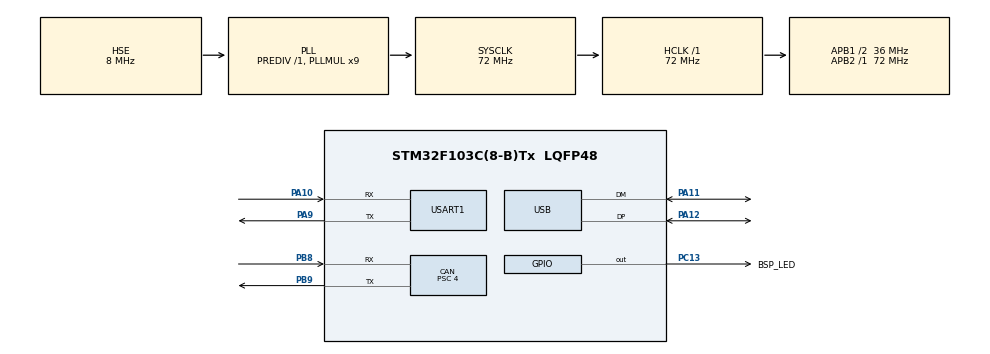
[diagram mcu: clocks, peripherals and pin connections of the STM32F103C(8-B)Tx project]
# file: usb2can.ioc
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CAN.ABOM=ENABLE
CAN.AWUM=ENABLE
CAN.BS1=CAN_BS1_5TQ
CAN.BS2=CAN_BS2_3TQ
CAN.CalculateBaudRate=1000000
CAN.CalculateTimeBit=1000
CAN.CalculateTimeQuantum=111.11111111111111
CAN.NART=ENABLE
CAN.Prescaler=4
CAN.RFLM=ENABLE
CAN.SJW=CAN_SJW_1TQ
CAN.TTCM=DISABLE
CAN.TXFP=ENABLE
FREERTOS.Events01=CanSyncEvent,Dynamic,NULL
FREERTOS.Queues01=CAN_SERVO_SEND_MSG,16,14,1,Dynamic,NULL,NULL;CAN_SERVO_RECV_MSG,16,14,1,Dynamic,NULL,NULL;UART_SEND_MSG,4,128,1,Dynamic,NULL,NULL;UART_RECV_MSG,4,128,1,Dynamic,NULL,NULL
FREERTOS.Tasks01=defaultTask,24,128,StartDefaultTask,Default,NULL,Dynamic,NULL,NULL;CAN_Servo_Task,24,128,CAN_Servo_Main,Default,NULL,Dynamic,NULL,NULL;Uart_Main,24,128,Uart_MainTask,Default,NULL,Dynamic,NULL,NULL
FREERTOS.configCHECK_FOR_STACK_OVERFLOW=1
FREERTOS.configTOTAL_HEAP_SIZE=4096
FREERTOS.configUSE_IDLE_HOOK=1
FREERTOS.configUSE_TIMERS=0
Mcu.Family=STM32F1
Mcu.Name=STM32F103C(8-B)Tx
Mcu.Package=LQFP48
NVIC.PriorityGroup=NVIC_PRIORITYGROUP_4
NVIC.TIM4_IRQn=true\:15\:0\:false\:false\:true\:false\:false\:true\:true
NVIC.TimeBase=TIM4_IRQn
NVIC.TimeBaseIP=TIM4
NVIC.USART1_IRQn=true\:5\:0\:false\:false\:true\:true\:true\:true\:true
NVIC.USB_HP_CAN1_TX_IRQn=true\:5\:0\:false\:false\:true\:true\:true\:true\:true
NVIC.USB_LP_CAN1_RX0_IRQn=true\:5\:0\:false\:false\:true\:true\:false\:true\:true
PA10.Mode=Asynchronous
PA10.Signal=USART1_RX
PA11.Mode=Device
PA11.Signal=USB_DM
PA12.Mode=Device
PA12.Signal=USB_DP
PA13.Mode=Serial_Wire
PA13.Signal=SYS_JTMS-SWDIO
PA14.Mode=Serial_Wire
PA14.Signal=SYS_JTCK-SWCLK
PA9.Mode=Asynchronous
PA9.Signal=USART1_TX
PB8.Mode=CAN_Activate
PB8.Signal=CAN_RX
PB9.Mode=CAN_Activate
PB9.Signal=CAN_TX
PC13-TAMPER-RTC.GPIO_Label=BSP_LED
PC13-TAMPER-RTC.Signal=GPIO_Output
PC14-OSC32_IN.Mode=LSE-External-Oscillator
PC14-OSC32_IN.Signal=RCC_OSC32_IN
PC15-OSC32_OUT.Mode=LSE-External-Oscillator
PC15-OSC32_OUT.Signal=RCC_OSC32_OUT
PD0-OSC_IN.Mode=HSE-External-Oscillator
PD0-OSC_IN.Signal=RCC_OSC_IN
PD1-OSC_OUT.Mode=HSE-External-Oscillator
PD1-OSC_OUT.Signal=RCC_OSC_OUT
ProjectManager.HeapSize=0x400
ProjectManager.StackSize=0x400
ProjectManager.TargetToolchain=MDK-ARM V5.32
RCC.AHBFreq_Value=72000000
RCC.APB1CLKDivider=RCC_HCLK_DIV2
RCC.APB1Freq_Value=36000000
RCC.APB1TimFreq_Value=72000000
RCC.APB2Freq_Value=72000000
RCC.APB2TimFreq_Value=72000000
RCC.HCLKFreq_Value=72000000
RCC.PLLMUL=RCC_PLL_MUL9
RCC.SYSCLKFreq_VALUE=72000000
RCC.SYSCLKSource=RCC_SYSCLKSOURCE_PLLCLK
RCC.USBFreq_Value=48000000
RCC.USBPrescaler=RCC_USBCLKSOURCE_PLL_DIV1_5
USART1.VirtualMode=VM_ASYNC
USB_DEVICE.CLASS_NAME_FS=CDC
USB_DEVICE.USBD_DEBUG_LEVEL=3
USB_DEVICE.VirtualMode=Cdc
USB_DEVICE.VirtualModeFS=Cdc_FS
VP_FREERTOS_VS_CMSIS_V2.Mode=CMSIS_V2
VP_SYS_VS_tim4.Mode=TIM4
VP_USB_DEVICE_VS_USB_DEVICE_CDC_FS.Mode=CDC_FS
board=custom

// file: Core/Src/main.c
/* USER CODE BEGIN Header */
/**
  ******************************************************************************
  * @file           : main.c
  * @brief          : Main program body
  ******************************************************************************
  * @attention
  *
  * Copyright (c) 2025 STMicroelectronics.
  * All rights reserved.
  *
  * This software is licensed under terms that can be found in the LICENSE file
  * in the root directory of this software component.
  * If no LICENSE file comes with this software, it is provided AS-IS.
  *
  ******************************************************************************
  */
/* USER CODE END Header */
#include "main.h"
#include "cmsis_os.h"
#include "can.h"
#include "usart.h"
#include "usb_device.h"
#include "gpio.h"

/* USER CODE BEGIN Includes */
#include "kst_servo_canopen.h"
/* USER CODE END Includes */

void SystemClock_Config(void);
void MX_FREERTOS_Init(void);

/* USER CODE BEGIN 0 */

int fputc(int ch, FILE *f)
{
	HAL_UART_Transmit(&huart1, (uint8_t *)&ch, 1, 0xff);
	return ch;
}

/* USER CODE END 0 */

int main(void)
{

  /* MCU Configuration--------------------------------------------------------*/

  /* Reset of all peripherals, Initializes the Flash interface and the Systick. */
  HAL_Init();

  /* Configure the system clock */
  SystemClock_Config();

  /* Initialize all configured peripherals */
  MX_GPIO_Init();
  MX_CAN_Init();
  MX_USART1_UART_Init();
  /* USER CODE BEGIN 2 */
  //CanFilter_Init();
  /* USER CODE END 2 */

  /* Init scheduler */
  osKernelInitialize();

  /* Call init function for freertos objects (in cmsis_os2.c) */
  MX_FREERTOS_Init();

  /* Start scheduler */
  osKernelStart();

  /* We should never get here as control is now taken by the scheduler */

  /* Infinite loop */
  /* USER CODE BEGIN WHILE */
  while (0)
  {
    /* USER CODE END WHILE */

  }
}

void SystemClock_Config(void)
{
  RCC_OscInitTypeDef RCC_OscInitStruct = {0};
  RCC_ClkInitTypeDef RCC_ClkInitStruct = {0};
  RCC_PeriphCLKInitTypeDef PeriphClkInit = {0};

  /** Initializes the RCC Oscillators according to the specified parameters
  * in the RCC_OscInitTypeDef structure.
  */
  RCC_OscInitStruct.OscillatorType = RCC_OSCILLATORTYPE_HSE;
  RCC_OscInitStruct.HSEState = RCC_HSE_ON;
  RCC_OscInitStruct.HSEPredivValue = RCC_HSE_PREDIV_DIV1;
  RCC_OscInitStruct.HSIState = RCC_HSI_ON;
  RCC_OscInitStruct.PLL.PLLState = RCC_PLL_ON;
  RCC_OscInitStruct.PLL.PLLSource = RCC_PLLSOURCE_HSE;
  RCC_OscInitStruct.PLL.PLLMUL = RCC_PLL_MUL9;
  if (HAL_RCC_OscConfig(&RCC_OscInitStruct) != HAL_OK)
  {
    Error_Handler();
  }

  /** Initializes the CPU, AHB and APB buses clocks
  */
  RCC_ClkInitStruct.ClockType = RCC_CLOCKTYPE_HCLK|RCC_CLOCKTYPE_SYSCLK
                              |RCC_CLOCKTYPE_PCLK1|RCC_CLOCKTYPE_PCLK2;
  RCC_ClkInitStruct.SYSCLKSource = RCC_SYSCLKSOURCE_PLLCLK;
  RCC_ClkInitStruct.AHBCLKDivider = RCC_SYSCLK_DIV1;
  RCC_ClkInitStruct.APB1CLKDivider = RCC_HCLK_DIV2;
  RCC_ClkInitStruct.APB2CLKDivider = RCC_HCLK_DIV1;

  if (HAL_RCC_ClockConfig(&RCC_ClkInitStruct, FLASH_LATENCY_2) != HAL_OK)
  {
    Error_Handler();
  }
  PeriphClkInit.PeriphClockSelection = RCC_PERIPHCLK_USB;
  PeriphClkInit.UsbClockSelection = RCC_USBCLKSOURCE_PLL_DIV1_5;
  if (HAL_RCCEx_PeriphCLKConfig(&PeriphClkInit) != HAL_OK)
  {
    Error_Handler();
  }
}

void HAL_TIM_PeriodElapsedCallback(TIM_HandleTypeDef *htim)
{
  if (htim->Instance == TIM4) {
    HAL_IncTick();
  }
}

void Error_Handler(void)
{
  __disable_irq();
  while (1)
  {
  }
}

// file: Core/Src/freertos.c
/* USER CODE BEGIN Header */
/**
  ******************************************************************************
  * File Name          : freertos.c
  * Description        : Code for freertos applications
  ******************************************************************************
  * @attention
  *
  * Copyright (c) 2025 STMicroelectronics.
  * All rights reserved.
  *
  * This software is licensed under terms that can be found in the LICENSE file
  * in the root directory of this software component.
  * If no LICENSE file comes with this software, it is provided AS-IS.
  *
  ******************************************************************************
  */
/* USER CODE END Header */

#include "FreeRTOS.h"
#include "task.h"
#include "main.h"
#include "cmsis_os.h"

/* USER CODE BEGIN Includes */
#include "app.h"
#include "kst_servo_canopen.h"
/* USER CODE END Includes */

/* Definitions for defaultTask */
osThreadId_t defaultTaskHandle;
const osThreadAttr_t defaultTask_attributes = {
  .name = "defaultTask",
  .stack_size = 128 * 4,
  .priority = (osPriority_t) osPriorityNormal,
};
/* Definitions for CAN_Servo_Task */
osThreadId_t CAN_Servo_TaskHandle;
const osThreadAttr_t CAN_Servo_Task_attributes = {
  .name = "CAN_Servo_Task",
  .stack_size = 128 * 4,
  .priority = (osPriority_t) osPriorityNormal,
};
/* Definitions for Uart_Main */
osThreadId_t Uart_MainHandle;
const osThreadAttr_t Uart_Main_attributes = {
  .name = "Uart_Main",
  .stack_size = 128 * 4,
  .priority = (osPriority_t) osPriorityNormal,
};
/* Definitions for CAN_SERVO_SEND_MSG */
osMessageQueueId_t CAN_SERVO_SEND_MSGHandle;
const osMessageQueueAttr_t CAN_SERVO_SEND_MSG_attributes = {
  .name = "CAN_SERVO_SEND_MSG"
};
/* Definitions for CAN_SERVO_RECV_MSG */
osMessageQueueId_t CAN_SERVO_RECV_MSGHandle;
const osMessageQueueAttr_t CAN_SERVO_RECV_MSG_attributes = {
  .name = "CAN_SERVO_RECV_MSG"
};
/* Definitions for UART_SEND_MSG */
osMessageQueueId_t UART_SEND_MSGHandle;
const osMessageQueueAttr_t UART_SEND_MSG_attributes = {
  .name = "UART_SEND_MSG"
};
/* Definitions for UART_RECV_MSG */
osMessageQueueId_t UART_RECV_MSGHandle;
const osMessageQueueAttr_t UART_RECV_MSG_attributes = {
  .name = "UART_RECV_MSG"
};
/* Definitions for CanSyncEvent */
osEventFlagsId_t CanSyncEventHandle;
const osEventFlagsAttr_t CanSyncEvent_attributes = {
  .name = "CanSyncEvent"
};

/* USER CODE BEGIN FunctionPrototypes */
void USB_Reset(void)
{
   GPIO_InitTypeDef GPIO_InitStruct = {0};
	__HAL_RCC_GPIOA_CLK_ENABLE();
	GPIO_InitStruct.Pin = GPIO_PIN_12;
	GPIO_InitStruct.Mode = GPIO_MODE_OUTPUT_PP;
	GPIO_InitStruct.Pull = GPIO_NOPULL;
	GPIO_InitStruct.Speed = GPIO_SPEED_FREQ_LOW;
	HAL_GPIO_Init(GPIOA, &GPIO_InitStruct);
	HAL_GPIO_WritePin(GPIOA,GPIO_PIN_12,GPIO_PIN_RESET);
	osDelay(100);
	HAL_GPIO_WritePin(GPIOA,GPIO_PIN_12,GPIO_PIN_SET);
}
/* USER CODE END FunctionPrototypes */

void StartDefaultTask(void *argument);
void CAN_Servo_Main(void *argument);
void Uart_MainTask(void *argument);

extern void MX_USB_DEVICE_Init(void);
void MX_FREERTOS_Init(void); /* (MISRA C 2004 rule 8.1) */

/* Hook prototypes */
void vApplicationIdleHook(void);
void vApplicationStackOverflowHook(xTaskHandle xTask, signed char *pcTaskName);

/* USER CODE BEGIN 2 */
void vApplicationIdleHook( void )
{
   /* vApplicationIdleHook() will only be called if configUSE_IDLE_HOOK is set
   to 1 in FreeRTOSConfig.h. It will be called on each iteration of the idle
   task. It is essential that code added to this hook function never attempts
   to block in any way (for example, call xQueueReceive() with a block time
   specified, or call vTaskDelay()). If the application makes use of the
   vTaskDelete() API function (as this demo application does) then it is also
   important that vApplicationIdleHook() is permitted to return to its calling
   function, because it is the responsibility of the idle task to clean up
   memory allocated by the kernel to any task that has since been deleted. */
}
/* USER CODE END 2 */

/* USER CODE BEGIN 4 */
void vApplicationStackOverflowHook(xTaskHandle xTask, signed char *pcTaskName)
{
   /* Run time stack overflow checking is performed if
   configCHECK_FOR_STACK_OVERFLOW is defined to 1 or 2. This hook function is
   called if a stack overflow is detected. */
}
/* USER CODE END 4 */

void MX_FREERTOS_Init(void) {

  /* Create the queue(s) */
  /* creation of CAN_SERVO_SEND_MSG */
  CAN_SERVO_SEND_MSGHandle = osMessageQueueNew (16, 14, &CAN_SERVO_SEND_MSG_attributes);

//  /* creation of CAN_SERVO_RECV_MSG */
  CAN_SERVO_RECV_MSGHandle = osMessageQueueNew (16, 14, &CAN_SERVO_RECV_MSG_attributes);

//  /* creation of UART_SEND_MSG */
//  UART_SEND_MSGHandle = osMessageQueueNew (4, 128, &UART_SEND_MSG_attributes);

//  /* creation of UART_RECV_MSG */
//  UART_RECV_MSGHandle = osMessageQueueNew (4, 128, &UART_RECV_MSG_attributes);

  /* Create the thread(s) */
  /* creation of defaultTask */
  defaultTaskHandle = osThreadNew(StartDefaultTask, NULL, &defaultTask_attributes);

//  /* creation of CAN_Servo_Task */
  CAN_Servo_TaskHandle = osThreadNew(CAN_Servo_Main, NULL, &CAN_Servo_Task_attributes);

//  /* creation of Uart_Main */
//  Uart_MainHandle = osThreadNew(Uart_MainTask, NULL, &Uart_Main_attributes);

  /* Create the event(s) */
  /* creation of CanSyncEvent */
//  CanSyncEventHandle = osEventFlagsNew(&CanSyncEvent_attributes);

}

void StartDefaultTask(void *argument)
{
  /* init code for USB_DEVICE */
  //USB_Reset();
  //MX_USB_DEVICE_Init();
  /* USER CODE BEGIN StartDefaultTask */
  /* Infinite loop */
  userAPP_MainTask();
  /* USER CODE END StartDefaultTask */
}

void CAN_Servo_Main(void *argument)
{
  /* USER CODE BEGIN CAN_Servo_Main */
  /* Infinite loop */
   CAN_Servo_MainTask();
  /* USER CODE END CAN_Servo_Main */
}

void Uart_MainTask(void *argument)
{
  /* USER CODE BEGIN Uart_MainTask */
  /* Infinite loop */

  for(;;)
  {
	osDelay(500);
	HAL_GPIO_TogglePin(BSP_LED_GPIO_Port, BSP_LED_Pin);
	//printf("Uart_MainTask\n");
  }
  /* USER CODE END Uart_MainTask */
}
